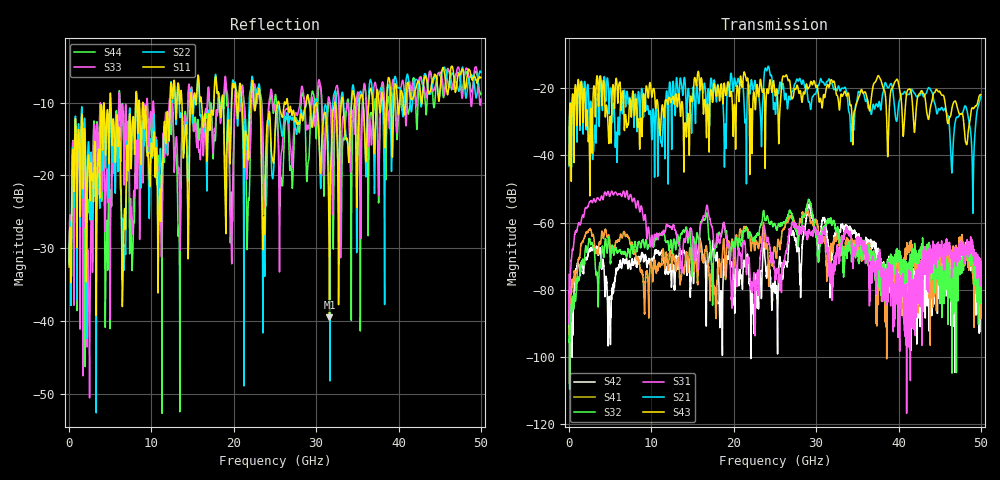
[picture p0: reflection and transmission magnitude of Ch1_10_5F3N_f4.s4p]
!Agilent Technologies,N5247A,US51170199,A.09.90.13
!Agilent N5247A: A.09.90.13
!Date: Wednesday, December 09, 2015 09:49:39
!Correction: S11(Full 4 Port(1,2,3,4))
!S12(Full 4 Port(1,2,3,4))
!S13(Full 4 Port(1,2,3,4))
!S14(Full 4 Port(1,2,3,4))
!S21(Full 4 Port(1,2,3,4))
!S22(Full 4 Port(1,2,3,4))
!S23(Full 4 Port(1,2,3,4))
!S24(Full 4 Port(1,2,3,4))
!S31(Full 4 Port(1,2,3,4))
!S32(Full 4 Port(1,2,3,4))
!S33(Full 4 Port(1,2,3,4))
!S34(Full 4 Port(1,2,3,4))
!S41(Full 4 Port(1,2,3,4))
!S42(Full 4 Port(1,2,3,4))
!S43(Full 4 Port(1,2,3,4))
!S44(Full 4 Port(1,2,3,4))
!S4P File: Measurements: <S11,S12,S13,S14>,
!<S21,S22,S23,S24>,
!<S31,S32,S33,S34>,
!<S41,S42,S43,S44>:
# Hz S  dB  R 50
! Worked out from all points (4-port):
!   3201 points, 10 MHz to 50 GHz, reference 50 ohm
!   strongest paths, dB at 10 MHz, 12.51 GHz, 25 GHz, 37.5 GHz, 50 GHz:
!     S43: -42.8, -23.1, -22.0, -16.3, -22.0
!     S21: -43.3, -27.1, -26.0, -25.6, -22.5
!     S31: -75.4, -62.0, -76.0, -69.6, -74.1
!     S32: -94.9, -69.2, -60.5, -75.1, -80.7
!     S41: -85.4, -73.6, -67.7, -75.0, -76.3
!     S42: -87.3, -75.0, -78.2, -71.8, -73.8
!   lowest |S11| = -39.5 dB at 31.61 GHz (marker M1), VSWR 1.02, Z = 50.7 - j0.829 ohm
!   |S11| at or under -10 dB: start of sweep to 4.947 GHz; 8.971 GHz to 12.26 GHz (3.29 GHz wide, 31 % of centre); 29.15 GHz to 32.28 GHz (3.124 GHz wide, 10.2 % of centre)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
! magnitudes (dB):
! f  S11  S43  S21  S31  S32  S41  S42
! 10 MHz  -32.6  -42.8  -43.3  -75.4  -94.9  -85.4  -87.3
! 4.556 GHz  -12.6  -25.1  -18.8  -51.9  -67.8  -63.6  -76.9
! 6.274 GHz  -20.0  -22.6  -23.3  -51.6  -68.8  -63.5  -71.5
! 7.587 GHz  -17.2  -27.8  -26.1  -52.7  -66.6  -65.9  -71.8
! 31.61 GHz  -39.5  -19.4  -17.4  -71.9  -59.4  -70.6  -70.6
! 49.03 GHz  -6.6  -26.0  -57.2  -69.4  -70.3  -76.5  -71.2
! 50 GHz  -6.6  -22.0  -22.5  -74.1  -80.7  -76.3  -73.8
